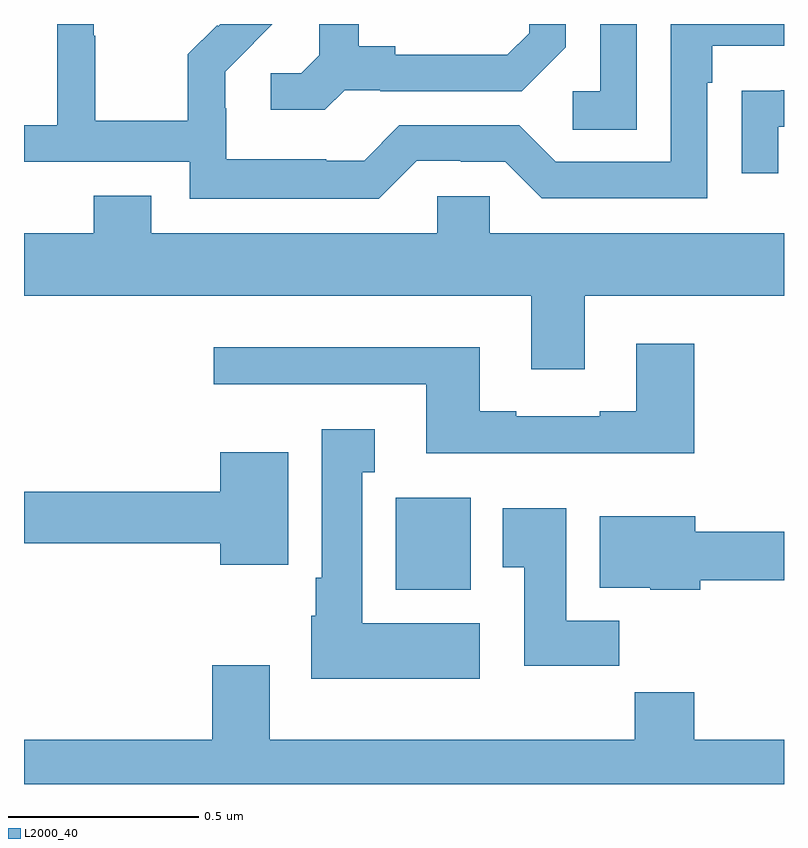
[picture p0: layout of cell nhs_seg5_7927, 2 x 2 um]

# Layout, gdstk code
import gdstk
lib = gdstk.Library(unit=1e-6, precision=1e-09)
def R(c, l, rs):  # rectangles x0, y0, x1, y1
    for r in rs: c.add(gdstk.rectangle(r[:2], r[2:], *l))
def P(c, l, *ps):  # polygons
    for p in ps: c.add(gdstk.Polygon(p, *l))
L2000_40 = (2000, 40)

nhs_seg5_7927 = lib.new_cell('nhs_seg5_7927')
R(nhs_seg5_7927, L2000_40, [(215.978,865.31,216.175,865.552)])
P(nhs_seg5_7927, L2000_40, [(215.844,866.625),(215.938,866.625),(215.938,866.622),(216.31,866.622),(216.426,866.738),(216.426,866.799),(216.329,866.799),(216.329,866.775),(216.272,866.718),(215.977,866.718),(215.977,866.741),(215.881,866.741),(215.881,866.799),(215.777,866.799),(215.777,866.717),(215.73,866.67),(215.649,866.67),(215.649,866.573),(215.792,866.573)],
  [(216.612,866.799),(216.516,866.799),(216.516,866.622),(216.444,866.622),(216.444,866.521),(216.612,866.521)],
  [(216.033,866.439),(216.149,866.439),(216.149,866.436),(216.267,866.436),(216.363,866.34),(216.798,866.34),(216.798,866.645),(216.811,866.645),(216.811,866.742),(217,866.742),(217,866.799),(216.702,866.799),(216.702,866.436),(216.399,866.436),(216.303,866.532),(215.988,866.532),(215.895,866.439),(215.795,866.439),(215.795,866.443),(215.532,866.443),(215.532,866.577),(215.53,866.577),(215.53,866.674),(215.604,866.748),(215.603,866.749),(215.653,866.799),(215.517,866.799),(215.511,866.793),(215.508,866.796),(215.431,866.719),(215.431,866.545),(215.187,866.545),(215.187,866.768),(215.184,866.768),(215.184,866.799),(215.088,866.799),(215.088,866.532),(215,866.532),(215,866.436),(215.436,866.436),(215.436,866.339),(215.933,866.339)],
  [(216.985,866.529),(217,866.529),(217,866.625),(216.991,866.625),(216.991,866.624),(216.889,866.624),(216.889,866.406),(216.985,866.406)],
  [(216.475,866.084),(217,866.084),(217,866.248),(216.225,866.248),(216.225,866.346),(216.087,866.346),(216.087,866.248),(215.335,866.248),(215.335,866.347),(215.183,866.347),(215.183,866.248),(215,866.248),(215,866.084),(216.335,866.084),(216.335,865.89),(216.475,865.89)],
  [(216.764,865.957),(216.611,865.957),(216.611,865.78),(216.515,865.78),(216.515,865.767),(216.295,865.767),(216.295,865.78),(216.199,865.78),(216.199,865.948),(215.499,865.948),(215.499,865.851),(216.059,865.851),(216.059,865.67),(216.764,865.67)],
  [(216.199,865.222),(215.89,865.222),(215.89,865.619),(215.923,865.619),(215.923,865.732),(215.783,865.732),(215.783,865.342),(215.768,865.342),(215.768,865.242),(215.756,865.242),(215.756,865.076),(216.199,865.076)],
  [(215.695,865.672),(215.516,865.672),(215.516,865.568),(215,865.568),(215,865.432),(215.516,865.432),(215.516,865.376),(215.695,865.376)],
  [(216.566,865.228),(216.427,865.228),(216.427,865.525),(216.26,865.525),(216.26,865.369),(216.317,865.369),(216.317,865.11),(216.566,865.11)],
  [(216.779,865.335),(217,865.335),(217,865.463),(216.766,865.463),(216.766,865.504),(216.515,865.504),(216.515,865.316),(216.648,865.316),(216.648,865.31),(216.779,865.31)],
  [(217,864.916),(216.764,864.916),(216.764,865.04),(216.607,865.04),(216.607,864.916),(215.647,864.916),(215.647,865.111),(215.495,865.111),(215.495,864.916),(215,864.916),(215,864.799),(217,864.799)])

lib.write_gds('nhs_seg5_7927.gds')
